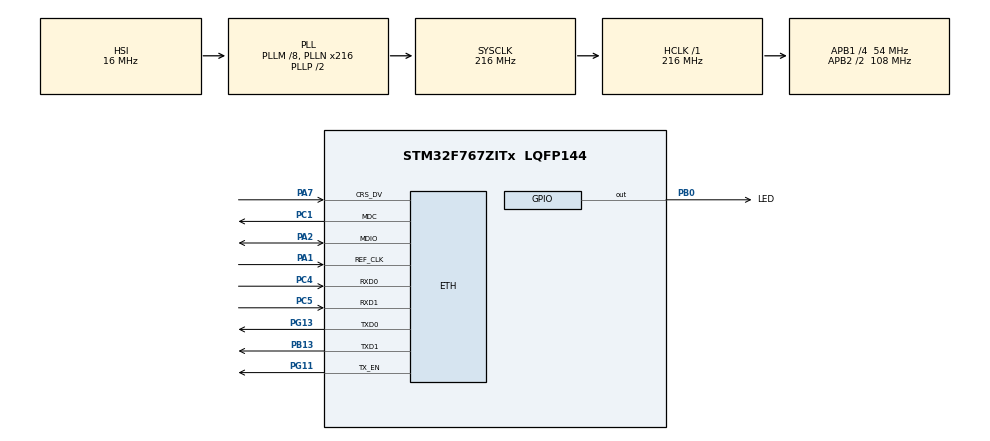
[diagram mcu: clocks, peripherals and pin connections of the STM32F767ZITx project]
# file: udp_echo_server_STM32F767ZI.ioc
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CORTEX_M7.AccessPermission-Cortex_Memory_Protection_Unit_Region1_Settings=MPU_REGION_FULL_ACCESS
CORTEX_M7.AccessPermission-Cortex_Memory_Protection_Unit_Region2_Settings=MPU_REGION_FULL_ACCESS
CORTEX_M7.BaseAddress-Cortex_Memory_Protection_Unit_Region1_Settings=0x20020000
CORTEX_M7.BaseAddress-Cortex_Memory_Protection_Unit_Region2_Settings=0x20020200
CORTEX_M7.CPU_DCache=Enabled
CORTEX_M7.CPU_ICache=Enabled
CORTEX_M7.DisableExec-Cortex_Memory_Protection_Unit_Region0_Settings=MPU_INSTRUCTION_ACCESS_DISABLE
CORTEX_M7.DisableExec-Cortex_Memory_Protection_Unit_Region1_Settings=MPU_INSTRUCTION_ACCESS_DISABLE
CORTEX_M7.DisableExec-Cortex_Memory_Protection_Unit_Region2_Settings=MPU_INSTRUCTION_ACCESS_DISABLE
CORTEX_M7.Enable-Cortex_Memory_Protection_Unit_Region0_Settings=MPU_REGION_ENABLE
CORTEX_M7.Enable-Cortex_Memory_Protection_Unit_Region1_Settings=MPU_REGION_ENABLE
CORTEX_M7.Enable-Cortex_Memory_Protection_Unit_Region2_Settings=MPU_REGION_ENABLE
CORTEX_M7.IsBufferable-Cortex_Memory_Protection_Unit_Region1_Settings=MPU_ACCESS_BUFFERABLE
CORTEX_M7.IsShareable-Cortex_Memory_Protection_Unit_Region0_Settings=MPU_ACCESS_NOT_SHAREABLE
CORTEX_M7.IsShareable-Cortex_Memory_Protection_Unit_Region1_Settings=MPU_ACCESS_SHAREABLE
CORTEX_M7.MPU_Control=MPU_PRIVILEGED_DEFAULT
CORTEX_M7.PREFETCH_ENABLE=1
CORTEX_M7.Size-Cortex_Memory_Protection_Unit_Region0_Settings=MPU_REGION_SIZE_4GB
CORTEX_M7.Size-Cortex_Memory_Protection_Unit_Region1_Settings=MPU_REGION_SIZE_512B
CORTEX_M7.Size-Cortex_Memory_Protection_Unit_Region2_Settings=MPU_REGION_SIZE_64KB
CORTEX_M7.SubRegionDisable-Cortex_Memory_Protection_Unit_Region0_Settings=0x87
CORTEX_M7.TypeExtField-Cortex_Memory_Protection_Unit_Region2_Settings=MPU_TEX_LEVEL1
ETH.MediaInterface=HAL_ETH_RMII_MODE
FREERTOS.Tasks01=defaultTask,0,256,StartDefaultTask,Default,NULL,Dynamic,NULL,NULL
FREERTOS.configUSE_NEWLIB_REENTRANT=1
LWIP.BSP.number=1
LWIP.IP_ADDRESS=192.168.001.055
LWIP.LWIP_DHCP=0
LWIP.LWIP_RAM_HEAP_POINTER=0x20028200
LWIP.LWIP_TCP=0
LWIP.NETMASK_ADDRESS=255.255.255.000
LWIP.Version=v2.1.2_Cube
LWIP0.BSP.STBoard=false
LWIP0.BSP.api=BSP_COMPONENT_DRIVER
LWIP0.BSP.component=LAN8742
LWIP0.BSP.instance=LAN8742
LWIP0.BSP.name=Driver_PHY
LWIP0.BSP.semaphore=S_LAN8742
LWIP0.BSP.solution=LAN8742
Mcu.Family=STM32F7
Mcu.Name=STM32F767ZITx
Mcu.Package=LQFP144
NVIC.ETH_IRQn=true\:5\:0\:false\:false\:true\:true\:false\:true\:true
NVIC.PriorityGroup=NVIC_PRIORITYGROUP_4
NVIC.TIM6_DAC_IRQn=true\:15\:0\:false\:false\:true\:false\:false\:true\:true
NVIC.TimeBase=TIM6_DAC_IRQn
NVIC.TimeBaseIP=TIM6
PA1.Mode=RMII
PA1.Signal=ETH_REF_CLK
PA13.Mode=Serial_Wire
PA13.Signal=SYS_JTMS-SWDIO
PA14.Mode=Serial_Wire
PA14.Signal=SYS_JTCK-SWCLK
PA2.Mode=RMII
PA2.Signal=ETH_MDIO
PA7.Mode=RMII
PA7.Signal=ETH_CRS_DV
PB0.GPIO_Label=LED
PB0.Signal=GPIO_Output
PB13.Mode=RMII
PB13.Signal=ETH_TXD1
PC1.Mode=RMII
PC1.Signal=ETH_MDC
PC4.Mode=RMII
PC4.Signal=ETH_RXD0
PC5.Mode=RMII
PC5.Signal=ETH_RXD1
PG11.Mode=RMII
PG11.Signal=ETH_TX_EN
PG13.Mode=RMII
PG13.Signal=ETH_TXD0
ProjectManager.HeapSize=0x200
ProjectManager.StackSize=0x400
ProjectManager.TargetToolchain=STM32CubeIDE
RCC.AHBFreq_Value=216000000
RCC.APB1CLKDivider=RCC_HCLK_DIV4
RCC.APB1Freq_Value=54000000
RCC.APB1TimFreq_Value=108000000
RCC.APB2CLKDivider=RCC_HCLK_DIV2
RCC.APB2Freq_Value=108000000
RCC.APB2TimFreq_Value=216000000
RCC.CortexFreq_Value=216000000
RCC.HCLKFreq_Value=216000000
RCC.HSE_VALUE=25000000
RCC.HSI_VALUE=16000000
RCC.LSE_VALUE=32768
RCC.PLLM=8
RCC.PLLN=216
RCC.SYSCLKFreq_VALUE=216000000
RCC.SYSCLKSource=RCC_SYSCLKSOURCE_PLLCLK
RCC.USBFreq_Value=216000000
RCC.VCOOutputFreq_Value=432000000
VP_FREERTOS_VS_CMSIS_V1.Mode=CMSIS_V1
VP_LWIP_VS_Enabled.Mode=Enabled
VP_SYS_VS_tim6.Mode=TIM6
board=custom

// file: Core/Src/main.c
/* USER CODE BEGIN Header */
/**
  ******************************************************************************
  * @file           : main.c
  * @brief          : Main program body
  ******************************************************************************
  * @attention
  *
  * Copyright (c) 2025 STMicroelectronics.
  * All rights reserved.
  *
  * This software is licensed under terms that can be found in the LICENSE file
  * in the root directory of this software component.
  * If no LICENSE file comes with this software, it is provided AS-IS.
  *
  ******************************************************************************
  */
/* USER CODE END Header */
#include "main.h"
#include "cmsis_os.h"
#include "lwip.h"

/* USER CODE BEGIN Includes */
#include "lwip/sockets.h"
/* USER CODE END Includes */

osThreadId defaultTaskHandle;

void SystemClock_Config(void);
static void MPU_Config(void);
static void MX_GPIO_Init(void);
void StartDefaultTask(void const * argument);

int main(void)
{

  /* MPU Configuration--------------------------------------------------------*/
  MPU_Config();

  /* Enable the CPU Cache */

  /* Enable I-Cache---------------------------------------------------------*/
  SCB_EnableICache();

  /* Enable D-Cache---------------------------------------------------------*/
  SCB_EnableDCache();

  /* MCU Configuration--------------------------------------------------------*/

  /* Reset of all peripherals, Initializes the Flash interface and the Systick. */
  HAL_Init();

  /* Configure the system clock */
  SystemClock_Config();

  /* Initialize all configured peripherals */
  MX_GPIO_Init();

  /* Create the thread(s) */
  /* definition and creation of defaultTask */
  osThreadDef(defaultTask, StartDefaultTask, osPriorityNormal, 0, 256);
  defaultTaskHandle = osThreadCreate(osThread(defaultTask), NULL);

  /* Start scheduler */
  osKernelStart();

  /* We should never get here as control is now taken by the scheduler */

  /* Infinite loop */
  while (1)
  {

  }
}

void SystemClock_Config(void)
{
  RCC_OscInitTypeDef RCC_OscInitStruct = {0};
  RCC_ClkInitTypeDef RCC_ClkInitStruct = {0};

  /** Configure the main internal regulator output voltage
  */
  __HAL_RCC_PWR_CLK_ENABLE();
  __HAL_PWR_VOLTAGESCALING_CONFIG(PWR_REGULATOR_VOLTAGE_SCALE1);

  /** Initializes the RCC Oscillators according to the specified parameters
  * in the RCC_OscInitTypeDef structure.
  */
  RCC_OscInitStruct.OscillatorType = RCC_OSCILLATORTYPE_HSI;
  RCC_OscInitStruct.HSIState = RCC_HSI_ON;
  RCC_OscInitStruct.HSICalibrationValue = RCC_HSICALIBRATION_DEFAULT;
  RCC_OscInitStruct.PLL.PLLState = RCC_PLL_ON;
  RCC_OscInitStruct.PLL.PLLSource = RCC_PLLSOURCE_HSI;
  RCC_OscInitStruct.PLL.PLLM = 8;
  RCC_OscInitStruct.PLL.PLLN = 216;
  RCC_OscInitStruct.PLL.PLLP = RCC_PLLP_DIV2;
  RCC_OscInitStruct.PLL.PLLQ = 2;
  RCC_OscInitStruct.PLL.PLLR = 2;
  if (HAL_RCC_OscConfig(&RCC_OscInitStruct) != HAL_OK)
  {
    Error_Handler();
  }

  /** Activate the Over-Drive mode
  */
  if (HAL_PWREx_EnableOverDrive() != HAL_OK)
  {
    Error_Handler();
  }

  /** Initializes the CPU, AHB and APB buses clocks
  */
  RCC_ClkInitStruct.ClockType = RCC_CLOCKTYPE_HCLK|RCC_CLOCKTYPE_SYSCLK
                              |RCC_CLOCKTYPE_PCLK1|RCC_CLOCKTYPE_PCLK2;
  RCC_ClkInitStruct.SYSCLKSource = RCC_SYSCLKSOURCE_PLLCLK;
  RCC_ClkInitStruct.AHBCLKDivider = RCC_SYSCLK_DIV1;
  RCC_ClkInitStruct.APB1CLKDivider = RCC_HCLK_DIV4;
  RCC_ClkInitStruct.APB2CLKDivider = RCC_HCLK_DIV2;

  if (HAL_RCC_ClockConfig(&RCC_ClkInitStruct, FLASH_LATENCY_7) != HAL_OK)
  {
    Error_Handler();
  }
}

static void MX_GPIO_Init(void)
{
  GPIO_InitTypeDef GPIO_InitStruct = {0};

  /* GPIO Ports Clock Enable */
  __HAL_RCC_GPIOC_CLK_ENABLE();
  __HAL_RCC_GPIOA_CLK_ENABLE();
  __HAL_RCC_GPIOB_CLK_ENABLE();
  __HAL_RCC_GPIOG_CLK_ENABLE();

  /*Configure GPIO pin Output Level */
  HAL_GPIO_WritePin(LED_GPIO_Port, LED_Pin, GPIO_PIN_RESET);

  /*Configure GPIO pin : LED_Pin */
  GPIO_InitStruct.Pin = LED_Pin;
  GPIO_InitStruct.Mode = GPIO_MODE_OUTPUT_PP;
  GPIO_InitStruct.Pull = GPIO_NOPULL;
  GPIO_InitStruct.Speed = GPIO_SPEED_FREQ_LOW;
  HAL_GPIO_Init(LED_GPIO_Port, &GPIO_InitStruct);

}

void StartDefaultTask(void const * argument)
{
  /* init code for LWIP */
  MX_LWIP_Init();
  /* USER CODE BEGIN 5 */
  int s = socket(AF_INET, SOCK_DGRAM, 0);

  struct sockaddr_in addr;
  addr.sin_family = AF_INET;
  addr.sin_addr.s_addr = INADDR_ANY;
  addr.sin_port = htons(5000);

  bind(s, (struct sockaddr *)&addr, sizeof(addr));

  fd_set s_set;
  struct timeval timeout = {0, 10000};
  int s_count;

  static uint8_t buffer[1024];
  int size;

  struct sockaddr_in client_addr;
  socklen_t sizeof_client_addr = sizeof(client_addr);

  uint32_t t = HAL_GetTick();
  uint32_t t2;

  while (1)
  {
	  FD_ZERO(&s_set);
	  FD_SET(s, &s_set);
	  s_count = select((int)(s + 1), &s_set, 0, 0, &timeout);
	  if (s_count != -1 && s_count) {
		  size = recvfrom(s, buffer, sizeof(buffer), 0, (struct sockaddr *)&client_addr, &sizeof_client_addr);
		  if (size != -1 && size) {
			  sendto(s, buffer, size, 0, (struct sockaddr *)&client_addr, sizeof_client_addr);
		  }
	  }

	  t2 = HAL_GetTick();
	  if (t2 - t > 500) {
		  HAL_GPIO_TogglePin(LED_GPIO_Port, LED_Pin);
		  t = t2;
	  }
  }
  /* USER CODE END 5 */
}

 /* MPU Configuration */

void MPU_Config(void)
{
  MPU_Region_InitTypeDef MPU_InitStruct = {0};

  /* Disables the MPU */
  HAL_MPU_Disable();

  /** Initializes and configures the Region and the memory to be protected
  */
  MPU_InitStruct.Enable = MPU_REGION_ENABLE;
  MPU_InitStruct.Number = MPU_REGION_NUMBER0;
  MPU_InitStruct.BaseAddress = 0x0;
  MPU_InitStruct.Size = MPU_REGION_SIZE_4GB;
  MPU_InitStruct.SubRegionDisable = 0x87;
  MPU_InitStruct.TypeExtField = MPU_TEX_LEVEL0;
  MPU_InitStruct.AccessPermission = MPU_REGION_NO_ACCESS;
  MPU_InitStruct.DisableExec = MPU_INSTRUCTION_ACCESS_DISABLE;
  MPU_InitStruct.IsShareable = MPU_ACCESS_NOT_SHAREABLE;
  MPU_InitStruct.IsCacheable = MPU_ACCESS_NOT_CACHEABLE;
  MPU_InitStruct.IsBufferable = MPU_ACCESS_NOT_BUFFERABLE;

  HAL_MPU_ConfigRegion(&MPU_InitStruct);

  /** Initializes and configures the Region and the memory to be protected
  */
  MPU_InitStruct.Number = MPU_REGION_NUMBER1;
  MPU_InitStruct.BaseAddress = 0x20020000;
  MPU_InitStruct.Size = MPU_REGION_SIZE_512B;
  MPU_InitStruct.SubRegionDisable = 0x0;
  MPU_InitStruct.AccessPermission = MPU_REGION_FULL_ACCESS;
  MPU_InitStruct.IsShareable = MPU_ACCESS_SHAREABLE;
  MPU_InitStruct.IsBufferable = MPU_ACCESS_BUFFERABLE;

  HAL_MPU_ConfigRegion(&MPU_InitStruct);

  /** Initializes and configures the Region and the memory to be protected
  */
  MPU_InitStruct.Number = MPU_REGION_NUMBER2;
  MPU_InitStruct.BaseAddress = 0x20020200;
  MPU_InitStruct.Size = MPU_REGION_SIZE_64KB;
  MPU_InitStruct.TypeExtField = MPU_TEX_LEVEL1;
  MPU_InitStruct.IsShareable = MPU_ACCESS_NOT_SHAREABLE;
  MPU_InitStruct.IsBufferable = MPU_ACCESS_NOT_BUFFERABLE;

  HAL_MPU_ConfigRegion(&MPU_InitStruct);
  /* Enables the MPU */
  HAL_MPU_Enable(MPU_PRIVILEGED_DEFAULT);

}

void HAL_TIM_PeriodElapsedCallback(TIM_HandleTypeDef *htim)
{
  if (htim->Instance == TIM6) {
    HAL_IncTick();
  }
}

void Error_Handler(void)
{
  __disable_irq();
  while (1)
  {
  }
}
